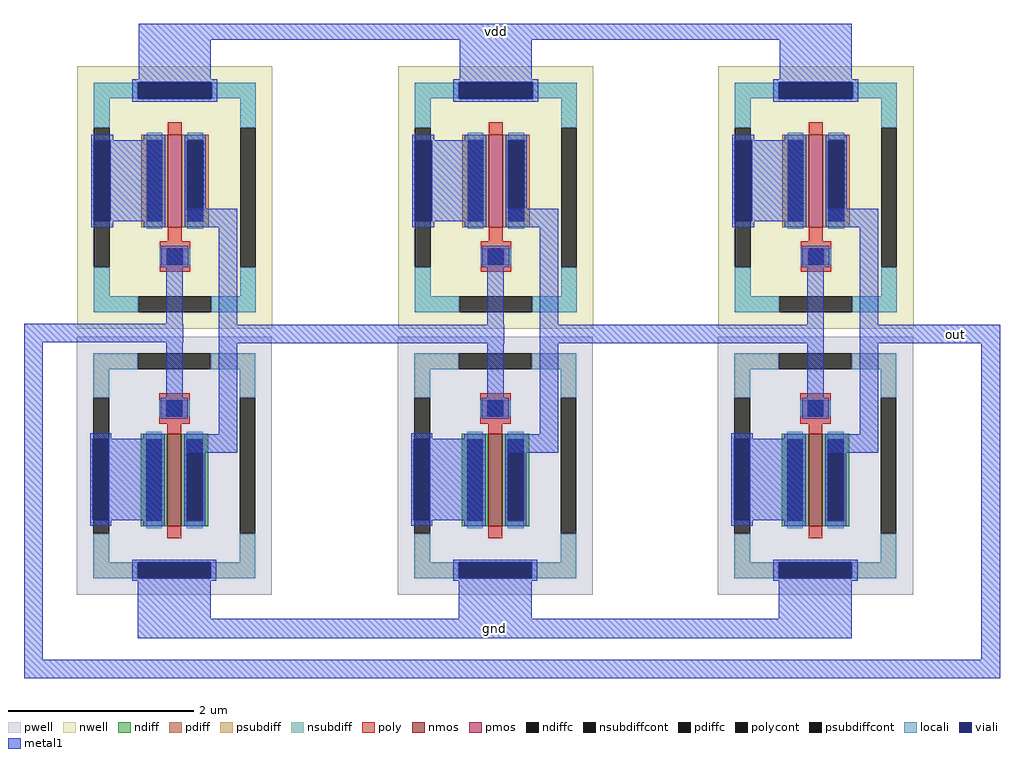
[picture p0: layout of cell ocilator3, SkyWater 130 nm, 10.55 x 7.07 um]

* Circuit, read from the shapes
.subckt ocilator3 vdd out gnd
XM1 x2/in out gnd gnd sky130_fd_pr__nfet_01v8 w=1 l=0.15
XM2 x3/in x2/in gnd gnd sky130_fd_pr__nfet_01v8 w=1 l=0.15
XM3 out x3/in gnd gnd sky130_fd_pr__nfet_01v8 w=1 l=0.15
XM4 x2/in out vdd vdd sky130_fd_pr__pfet_01v8 w=1 l=0.15
XM5 x3/in x2/in vdd vdd sky130_fd_pr__pfet_01v8 w=1 l=0.15
XM6 out x3/in vdd vdd sky130_fd_pr__pfet_01v8 w=1 l=0.15
.ends

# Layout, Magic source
magic
tech sky130A
magscale 1 2
<< viali >>
rect -72 1074 88 1110
rect 622 1074 782 1110
rect 1314 1074 1474 1110
rect -72 38 86 72
rect 622 38 780 72
rect 1314 38 1472 72
<< metal1 >>
rect -70 1202 1472 1236
rect -70 1116 86 1202
rect 624 1116 780 1202
rect 1316 1116 1472 1202
rect -84 1110 100 1116
rect -84 1074 -72 1110
rect 88 1074 100 1110
rect -84 1068 100 1074
rect 610 1110 794 1116
rect 610 1074 622 1110
rect 782 1074 794 1110
rect 610 1068 794 1074
rect 1302 1110 1486 1116
rect 1302 1074 1314 1110
rect 1474 1074 1486 1110
rect 1302 1068 1486 1074
rect -318 548 26 588
rect -318 -138 -278 548
rect 103 546 720 586
rect 797 546 1410 586
rect 1489 546 1792 586
rect -84 72 98 78
rect -84 38 -72 72
rect 86 38 98 72
rect -84 32 98 38
rect 610 72 792 78
rect 610 38 622 72
rect 780 38 792 72
rect 610 32 792 38
rect 1302 72 1484 78
rect 1302 38 1314 72
rect 1472 38 1484 72
rect 1302 32 1484 38
rect -72 -50 86 32
rect 622 -50 780 32
rect 1314 -50 1472 32
rect -72 -92 1472 -50
rect 1752 -138 1792 546
rect -318 -178 1792 -138
use msib15okt24inv  x1
transform 1 0 -149 0 1 -5
box -55 7 368 1150
use msib15okt24inv  x2
transform 1 0 545 0 1 -5
box -55 7 368 1150
use msib15okt24inv  x3
transform 1 0 1237 0 1 -5
box -55 7 368 1150
<< labels >>
flabel metal1 704 1220 704 1220 0 FreeSans 160 0 0 0 vdd
port 0 nsew
flabel metal1 1696 564 1696 564 0 FreeSans 160 0 0 0 out
port 1 nsew
flabel metal1 700 -72 700 -72 0 FreeSans 160 0 0 0 gnd
port 2 nsew
<< end >>

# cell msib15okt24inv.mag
magic
tech sky130A
magscale 1 2
<< viali >>
rect -18 814 18 990
rect -20 168 14 344
<< metal1 >>
rect -24 990 24 1002
rect -24 814 -18 990
rect 18 814 130 990
rect -24 802 24 814
rect 178 802 292 842
rect 138 394 174 756
rect -26 344 20 356
rect 252 354 292 802
rect -26 168 -20 344
rect 14 168 128 344
rect 178 314 292 354
rect -26 156 20 168
use sky130_fd_pr__nfet_01v8_64Z3AY  XM1
transform 1 0 156 0 1 286
box -211 -279 211 279
use sky130_fd_pr__pfet_01v8_LGS3BL  XM2
transform 1 0 157 0 1 866
box -211 -284 211 284
<< labels >>
flabel metal1 50 902 50 902 0 FreeSans 160 0 0 0 vdd
port 2 nsew
flabel metal1 46 246 46 246 0 FreeSans 160 0 0 0 gnd
port 3 nsew
flabel metal1 272 572 272 572 0 FreeSans 160 0 0 0 out
port 5 nsew
flabel metal1 154 572 154 572 0 FreeSans 160 0 0 0 in
port 6 nsew
<< end >>

# cell sky130_fd_pr__nfet_01v8_64Z3AY: kit device sky130_fd_pr__nfet_01v8, w 1.0 l 0.15 m 1 nf 1 diffcov 100 polycov 100 guard 1 glc 1 grc 1 gtc 1 gbc 1 tbcov 100 rlcov 100 topc 1 botc 0 poverlap 0 doverlap 1 lmin 0.15 wmin 0.42 compatible {sky130_fd_pr__nfet_01v8 sky130_fd_pr__nfet_01v8_lvt sky130_fd_bs_flash__special_sonosfet_star sky130_fd_pr__nfet_g5v0d10v5 sky130_fd_pr__nfet_05v0_nvt sky130_fd_pr__nfet_03v3_nvt} full_metal 1 viasrc 100 viadrn 100 viagate 100 viagb 0 viagr 0 viagl 0 viagt 0

# cell sky130_fd_pr__pfet_01v8_LGS3BL: kit device sky130_fd_pr__pfet_01v8, w 1.0 l 0.15 m 1 nf 1 diffcov 100 polycov 100 guard 1 glc 1 grc 1 gtc 1 gbc 1 tbcov 100 rlcov 100 topc 0 botc 1 poverlap 0 doverlap 1 lmin 0.15 wmin 0.42 compatible {sky130_fd_pr__pfet_01v8 sky130_fd_pr__pfet_01v8_lvt sky130_fd_pr__pfet_01v8_hvt sky130_fd_pr__pfet_g5v0d10v5} full_metal 1 viasrc 100 viadrn 100 viagate 100 viagb 0 viagr 0 viagl 0 viagt 0
